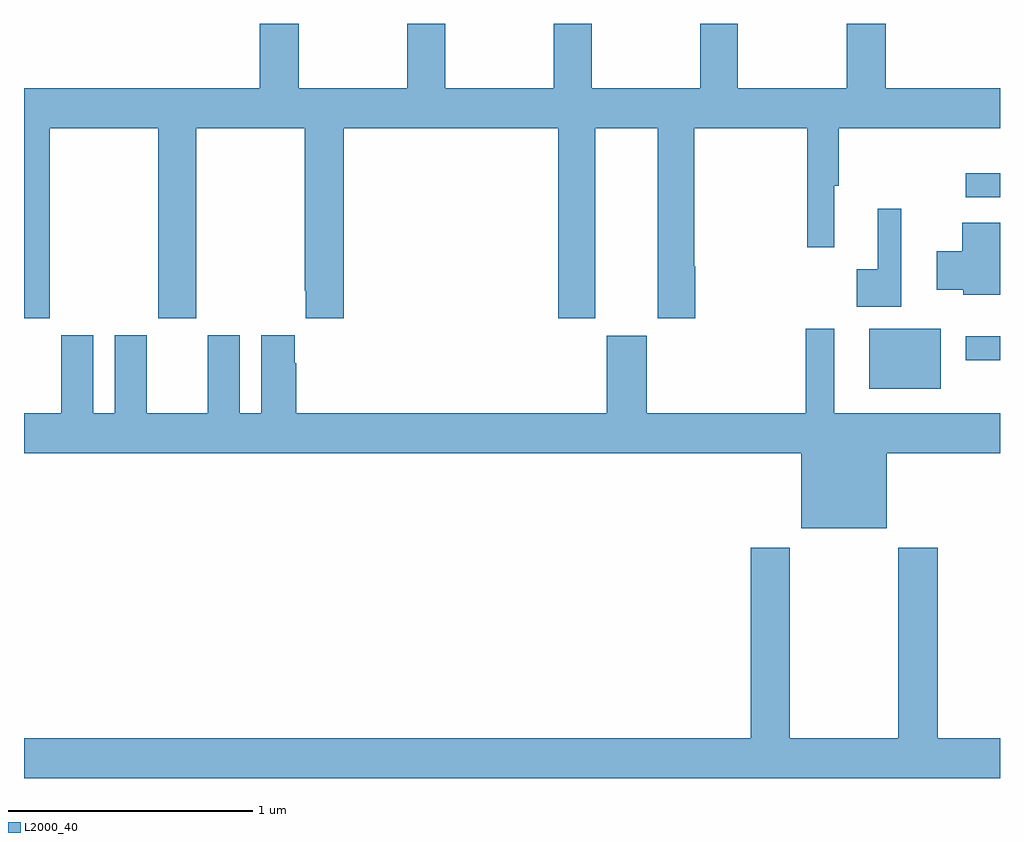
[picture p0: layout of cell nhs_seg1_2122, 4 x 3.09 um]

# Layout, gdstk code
import gdstk
lib = gdstk.Library(unit=1e-6, precision=1e-09)
def R(c, l, rs):  # rectangles x0, y0, x1, y1
    for r in rs: c.add(gdstk.rectangle(r[:2], r[2:], *l))
def P(c, l, *ps):  # polygons
    for p in ps: c.add(gdstk.Polygon(p, *l))
L2000_40 = (2000, 40)

nhs_seg1_2122 = lib.new_cell('nhs_seg1_2122')
R(nhs_seg1_2122, L2000_40, [(230.465,510.704,230.758,510.949), (230.859,510.821,231,510.919), (230.859,511.488,231,511.586)])
P(nhs_seg1_2122, L2000_40, [(227.106,511.772),(227.551,511.772),(227.551,510.993),(227.706,510.993),(227.706,511.772),(228.151,511.772),(228.151,511.105),(228.155,511.105),(228.155,510.993),(228.311,510.993),(228.311,511.772),(229.19,511.772),(229.19,510.993),(229.342,510.993),(229.342,511.772),(229.598,511.772),(229.598,510.993),(229.751,510.993),(229.751,511.205),(229.746,511.205),(229.746,511.772),(230.211,511.772),(230.211,511.284),(230.321,511.284),(230.321,511.536),(230.339,511.536),(230.339,511.772),(231,511.772),(231,511.936),(230.531,511.936),(230.531,512.199),(230.371,512.199),(230.371,511.936),(229.926,511.936),(229.926,512.199),(229.771,512.199),(229.771,511.936),(229.326,511.936),(229.326,512.199),(229.171,512.199),(229.171,511.936),(228.726,511.936),(228.726,512.199),(228.571,512.199),(228.571,511.936),(228.126,511.936),(228.126,512.199),(227.966,512.199),(227.966,511.936),(227,511.936),(227,510.993),(227.106,510.993)],
  [(230.596,511.441),(230.498,511.441),(230.498,511.193),(230.412,511.193),(230.412,511.04),(230.596,511.04)],
  [(231,511.384),(230.846,511.384),(230.846,511.267),(230.741,511.267),(230.741,511.109),(230.85,511.109),(230.85,511.088),(231,511.088)],
  [(230.536,510.44),(231,510.44),(231,510.604),(230.32,510.604),(230.32,510.949),(230.203,510.949),(230.203,510.604),(229.552,510.604),(229.552,510.921),(229.388,510.921),(229.388,510.604),(228.116,510.604),(228.116,510.809),(228.109,510.809),(228.109,510.922),(227.972,510.922),(227.972,510.604),(227.884,510.604),(227.884,510.922),(227.753,510.922),(227.753,510.604),(227.503,510.604),(227.503,510.922),(227.372,510.922),(227.372,510.604),(227.284,510.604),(227.284,510.922),(227.153,510.922),(227.153,510.604),(227,510.604),(227,510.44),(230.186,510.44),(230.186,510.131),(230.536,510.131)],
  [(231,509.272),(230.744,509.272),(230.744,510.052),(230.584,510.052),(230.584,509.272),(230.139,509.272),(230.139,510.052),(229.979,510.052),(229.979,509.272),(227,509.272),(227,509.108),(231,509.108)])

lib.write_gds('nhs_seg1_2122.gds')
